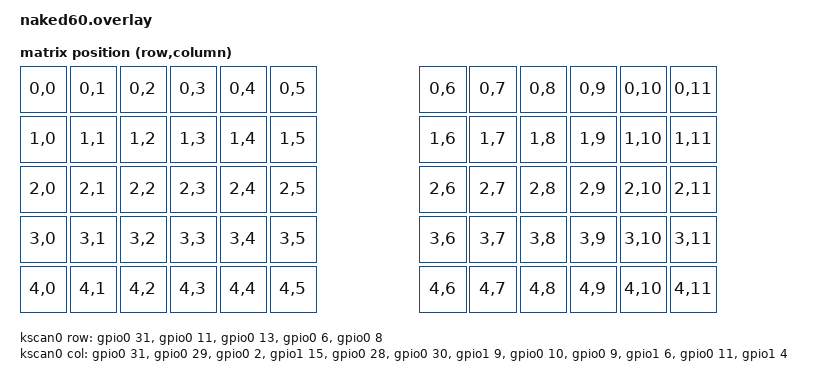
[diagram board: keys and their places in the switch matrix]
/* ファイルの先頭に追加 */
&pro_micro_i2c { status = "disabled"; };
&pro_micro_spi { status = "disabled"; };
&pro_micro_serial { status = "disabled"; };

#include <dt-bindings/zmk/matrix_transform.h>
#include "layouts.dtsi"

/ {
    chosen {
        zmk,physical-layout = &physical_layout;
    };

    default_transform: keymap_transform {
        compatible = "zmk,matrix-transform";
        columns = <12>;
        rows = <5>;
        map = <
            RC(0,0) RC(0,1) RC(0,2) RC(0,3) RC(0,4) RC(0,5)                 RC(0,6) RC(0,7) RC(0,8)  RC(0,9)  RC(0,10) RC(0,11)
            RC(1,0) RC(1,1) RC(1,2) RC(1,3) RC(1,4) RC(1,5)                 RC(1,6) RC(1,7) RC(1,8)  RC(1,9)  RC(1,10) RC(1,11)
            RC(2,0) RC(2,1) RC(2,2) RC(2,3) RC(2,4) RC(2,5)                 RC(2,6) RC(2,7) RC(2,8)  RC(2,9)  RC(2,10) RC(2,11)
            RC(3,0) RC(3,1) RC(3,2) RC(3,3) RC(3,4) RC(3,5)                 RC(3,6) RC(3,7) RC(3,8)  RC(3,9)  RC(3,10) RC(3,11)
                    RC(4,0) RC(4,1) RC(4,2) RC(4,3) RC(4,4) RC(4,5) RC(4,6) RC(4,7) RC(4,8) RC(4,9)  RC(4,10) RC(4,11)
        >;
        // 物理レイアウトの最初のキーから使用するため、オフセットは 0
        col-offset = <0>;
    };

    kscan0: kscan {
        compatible = "zmk,kscan-gpio-matrix";
        wakeup-source;


        diode-direction = "col2row";

        /* Rowの順番をv2.0の物理配線（B6, D4, C6, D1, D0）に並び替え */
        row-gpios
            = <&gpio0 31 (GPIO_ACTIVE_HIGH | GPIO_PULL_DOWN)> // Row 0 (1段目: OK)
            , <&gpio0 11 (GPIO_ACTIVE_HIGH | GPIO_PULL_DOWN)> // Row 1 (2段目: 強化)
            , <&gpio0 13 (GPIO_ACTIVE_HIGH | GPIO_PULL_DOWN)> // Row 2 (3段目: 強化)
            , <&gpio0 6  (GPIO_ACTIVE_HIGH | GPIO_PULL_DOWN)> // Row 3 (4段目: OK)
            , <&gpio0 8  (GPIO_ACTIVE_HIGH | GPIO_PULL_DOWN)> // Row 4 (5段目: OK)
            ;
        /* Colのピン指定 */
        col-gpios
            = <&gpio0 31 GPIO_ACTIVE_HIGH> // F4
            , <&gpio0 29 GPIO_ACTIVE_HIGH> // F5
            , <&gpio0 2  GPIO_ACTIVE_HIGH> // F6
            , <&gpio1 15 GPIO_ACTIVE_HIGH> // F7
            , <&gpio0 28 GPIO_ACTIVE_HIGH> // B1
            , <&gpio0 30 GPIO_ACTIVE_HIGH> // B3
            , <&gpio1 9  GPIO_ACTIVE_HIGH> // B2
            , <&gpio0 10 GPIO_ACTIVE_HIGH> // D7
            , <&gpio0 9  GPIO_ACTIVE_HIGH> // E6
            , <&gpio1 6  GPIO_ACTIVE_HIGH> // B4
            , <&gpio0 11 GPIO_ACTIVE_HIGH> // B5
            , <&gpio1 4  GPIO_ACTIVE_HIGH> // D3
            ;
};

&physical_layout {
    kscan = <&kscan0>;
    transform = <&default_transform>;
};
